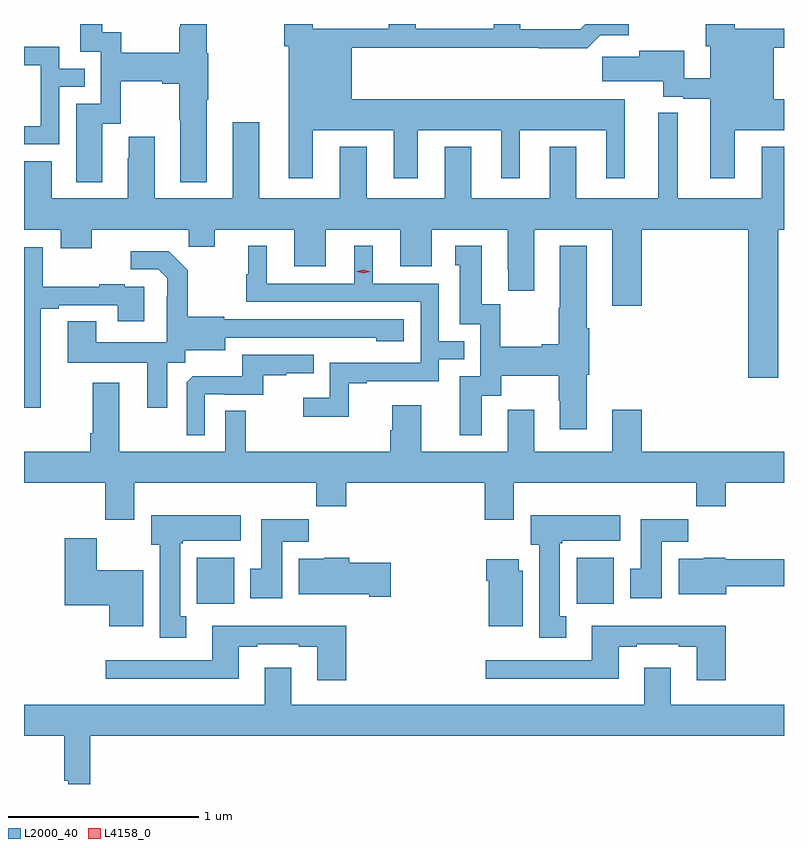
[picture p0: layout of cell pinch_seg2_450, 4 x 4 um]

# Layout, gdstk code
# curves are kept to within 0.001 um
import gdstk
lib = gdstk.Library(unit=1e-6, precision=1e-09)
def R(c, l, rs):  # rectangles x0, y0, x1, y1
    for r in rs: c.add(gdstk.rectangle(r[:2], r[2:], *l))
def P(c, l, *ps):  # polygons
    for p in ps: c.add(gdstk.Polygon(p, *l))
L2000_40 = (2000, 40)
L4158_0 = (4158, 0)

pinch_seg2_450 = lib.new_cell('pinch_seg2_450')
R(pinch_seg2_450, L2000_40, [(890.414,600.38,890.611,600.622), (892.412,600.38,892.609,600.622)])
P(pinch_seg2_450, L2000_40, [(891.025,602.87),(891.449,602.87),(891.449,602.619),(891.577,602.619),(891.577,602.87),(892.016,602.87),(892.016,602.619),(892.114,602.619),(892.114,602.87),(892.568,602.87),(892.568,602.619),(892.666,602.619),(892.666,603.034),(891.229,603.034),(891.229,603.304),(892.213,603.304),(892.213,603.302),(892.469,603.302),(892.538,603.371),(892.687,603.371),(892.687,603.43),(892.459,603.43),(892.431,603.402),(892.117,603.402),(892.117,603.43),(891.977,603.43),(891.977,603.405),(891.565,603.405),(891.565,603.43),(891.425,603.43),(891.425,603.405),(891.025,603.405),(891.025,603.43),(890.873,603.43),(890.873,603.312),(890.897,603.312),(890.897,602.619),(891.025,602.619)],
  [(890.467,603.032),(890.475,603.032),(890.475,603.276),(890.467,603.276),(890.467,603.43),(890.327,603.43),(890.327,603.414),(890.32,603.414),(890.32,603.28),(890.017,603.28),(890.017,603.386),(889.915,603.386),(889.915,603.43),(889.799,603.43),(889.799,603.285),(889.908,603.285),(889.908,603.009),(889.778,603.009),(889.778,602.598),(889.915,602.598),(889.915,602.906),(890.013,602.906),(890.013,603.128),(890.231,603.128),(890.231,603.116),(890.32,603.116),(890.32,602.923),(890.327,602.923),(890.327,602.597),(890.467,602.597)],
  [(893.245,602.87),(893.504,602.87),(893.504,603.034),(893.449,603.034),(893.449,603.304),(893.504,603.304),(893.504,603.405),(893.245,603.405),(893.245,603.43),(893.093,603.43),(893.093,603.312),(893.117,603.312),(893.117,603.145),(892.978,603.145),(892.978,603.289),(892.742,603.289),(892.742,603.257),(892.548,603.257),(892.548,603.128),(892.868,603.128),(892.868,603.048),(892.974,603.048),(892.974,603.037),(893.117,603.037),(893.117,602.619),(893.245,602.619)],
  [(889.689,603.099),(889.823,603.099),(889.823,603.195),(889.689,603.195),(889.689,603.309),(889.504,603.309),(889.504,603.213),(889.593,603.213),(889.593,602.892),(889.504,602.892),(889.504,602.796),(889.689,602.796)],
  [(893.475,602.348),(893.504,602.348),(893.504,602.785),(893.387,602.785),(893.387,602.512),(892.945,602.512),(892.945,602.849),(892.944,602.849),(892.944,602.962),(892.841,602.962),(892.841,602.512),(892.411,602.512),(892.411,602.785),(892.271,602.785),(892.271,602.512),(891.859,602.512),(891.859,602.785),(891.719,602.785),(891.719,602.512),(891.307,602.512),(891.307,602.785),(891.167,602.785),(891.167,602.512),(890.743,602.512),(890.743,602.914),(890.603,602.914),(890.603,602.512),(890.191,602.512),(890.191,602.836),(890.054,602.836),(890.054,602.723),(890.051,602.723),(890.051,602.512),(889.651,602.512),(889.651,602.707),(889.504,602.707),(889.504,602.348),(889.697,602.348),(889.697,602.249),(889.861,602.249),(889.861,602.348),(890.371,602.348),(890.371,602.258),(890.509,602.258),(890.509,602.348),(890.927,602.348),(890.927,602.154),(891.091,602.154),(891.091,602.348),(891.485,602.348),(891.485,602.154),(891.649,602.154),(891.649,602.348),(892.049,602.348),(892.049,602.137),(892.052,602.137),(892.052,602.025),(892.189,602.025),(892.189,602.348),(892.601,602.348),(892.601,601.947),(892.754,601.947),(892.754,602.348),(893.315,602.348),(893.315,601.569),(893.475,601.569)],
  [(891.213,601.539),(891.307,601.539),(891.307,601.551),(891.687,601.551),(891.687,601.665),(891.821,601.665),(891.821,601.761),(891.687,601.761),(891.687,602.064),(891.34,602.064),(891.34,602.263),(891.242,602.263),(891.242,602.064),(890.782,602.064),(890.782,602.263),(890.684,602.263),(890.684,602.112),(890.673,602.112),(890.673,601.968),(891.591,601.968),(891.591,601.647),(891.114,601.647),(891.114,601.462),(890.973,601.462),(890.973,601.364),(891.213,601.364)],
  [(891.913,601.474),(892.015,601.474),(892.015,601.58),(892.318,601.58),(892.318,601.446),(892.325,601.446),(892.325,601.296),(892.465,601.296),(892.465,601.584),(892.478,601.584),(892.478,601.828),(892.465,601.828),(892.465,602.263),(892.325,602.263),(892.325,601.937),(892.318,601.937),(892.318,601.745),(892.229,601.745),(892.229,601.732),(892.011,601.732),(892.011,601.955),(891.913,601.955),(891.913,602.263),(891.773,602.263),(891.773,602.16),(891.797,602.16),(891.797,601.851),(891.906,601.851),(891.906,601.575),(891.797,601.575),(891.797,601.266),(891.913,601.266)],
  [(889.591,601.932),(889.687,601.932),(889.687,601.95),(889.997,601.95),(889.997,601.866),(890.137,601.866),(890.137,602.046),(890.033,602.046),(890.033,602.059),(889.901,602.059),(889.901,602.048),(889.603,602.048),(889.603,602.256),(889.504,602.256),(889.504,601.41),(889.591,601.41)],
  [(890.257,601.648),(890.352,601.648),(890.352,601.712),(890.563,601.712),(890.563,601.779),(891.357,601.778),(891.357,601.76),(891.502,601.76),(891.502,601.875),(890.559,601.875),(890.559,601.888),(890.367,601.888),(890.367,602.133),(890.267,602.233),(890.067,602.233),(890.067,602.139),(890.211,602.139),(890.258,602.092),(890.258,601.997),(890.256,601.997),(890.256,601.756),(889.885,601.756),(889.885,601.865),(889.733,601.865),(889.733,601.646),(890.153,601.646),(890.153,601.41),(890.257,601.41)],
  [(890.454,601.482),(890.554,601.482),(890.554,601.479),(890.762,601.479),(890.762,601.581),(890.885,601.581),(890.885,601.592),(891.029,601.592),(891.029,601.689),(890.652,601.689),(890.652,601.577),(890.393,601.577),(890.361,601.545),(890.361,601.265),(890.454,601.265)],
  [(890.083,601.016),(891.043,601.016),(891.043,600.892),(891.2,600.892),(891.2,601.016),(891.929,601.016),(891.929,600.822),(892.081,600.822),(892.081,601.016),(893.041,601.016),(893.041,600.892),(893.198,600.892),(893.198,601.016),(893.504,601.016),(893.504,601.18),(892.754,601.18),(892.754,601.399),(892.601,601.399),(892.601,601.18),(892.189,601.18),(892.189,601.399),(892.049,601.399),(892.049,601.18),(891.595,601.18),(891.595,601.423),(891.443,601.423),(891.443,601.293),(891.431,601.293),(891.431,601.18),(890.671,601.18),(890.671,601.394),(890.562,601.394),(890.562,601.18),(890.005,601.18),(890.005,601.543),(889.865,601.543),(889.865,601.276),(889.853,601.276),(889.853,601.18),(889.504,601.18),(889.504,601.016),(889.931,601.016),(889.931,600.822),(890.083,600.822)],
  [(892.357,600.314),(892.324,600.314),(892.324,600.697),(892.338,600.697),(892.338,600.71),(892.642,600.71),(892.642,600.844),(892.172,600.844),(892.172,600.69),(892.217,600.69),(892.217,600.201),(892.357,600.201)],
  [(890.359,600.314),(890.326,600.314),(890.326,600.697),(890.34,600.697),(890.34,600.71),(890.644,600.71),(890.644,600.844),(890.174,600.844),(890.174,600.69),(890.219,600.69),(890.219,600.201),(890.359,600.201)],
  [(892.861,600.704),(893,600.704),(893,600.823),(892.751,600.823),(892.751,600.564),(892.694,600.564),(892.694,600.408),(892.861,600.408)],
  [(890.863,600.704),(891.002,600.704),(891.002,600.823),(890.753,600.823),(890.753,600.564),(890.696,600.564),(890.696,600.408),(890.863,600.408)],
  [(890.131,600.556),(889.888,600.556),(889.888,600.724),(889.718,600.724),(889.718,600.371),(889.952,600.371),(889.952,600.26),(890.131,600.26)],
  [(891.433,600.594),(891.215,600.594),(891.215,600.622),(891.084,600.622),(891.084,600.616),(890.951,600.616),(890.951,600.428),(891.32,600.428),(891.32,600.416),(891.433,600.416)],
  [(893.2,600.47),(893.504,600.47),(893.504,600.612),(893.196,600.612),(893.196,600.622),(893.082,600.622),(893.082,600.616),(892.949,600.616),(892.949,600.428),(893.2,600.428)],
  [(892.129,600.552),(892.108,600.552),(892.108,600.613),(891.938,600.613),(891.938,600.5),(891.95,600.5),(891.95,600.26),(892.129,600.26)],
  [(893.198,600.262),(892.493,600.262),(892.493,600.081),(891.933,600.081),(891.933,599.984),(892.633,599.984),(892.633,600.153),(892.729,600.153),(892.729,600.165),(892.949,600.165),(892.949,600.153),(893.045,600.153),(893.045,599.976),(893.198,599.976)],
  [(891.2,600.262),(890.495,600.262),(890.495,600.081),(889.935,600.081),(889.935,599.984),(890.635,599.984),(890.635,600.153),(890.731,600.153),(890.731,600.165),(890.951,600.165),(890.951,600.153),(891.047,600.153),(891.047,599.976),(891.2,599.976)],
  [(889.853,599.684),(893.504,599.684),(893.504,599.848),(892.909,599.848),(892.909,600.043),(892.769,600.043),(892.769,599.848),(890.911,599.848),(890.911,600.043),(890.771,600.043),(890.771,599.848),(889.504,599.848),(889.504,599.684),(889.717,599.684),(889.717,599.448),(889.736,599.448),(889.736,599.43),(889.853,599.43)])
P(pinch_seg2_450, L4158_0, [(891.291,602.117),(891.255,602.127),(891.255,602.127),(891.255,602.128),(891.291,602.137),(891.327,602.126),(891.327,602.126),(891.327,602.126)])

lib.write_gds('pinch_seg2_450.gds')
